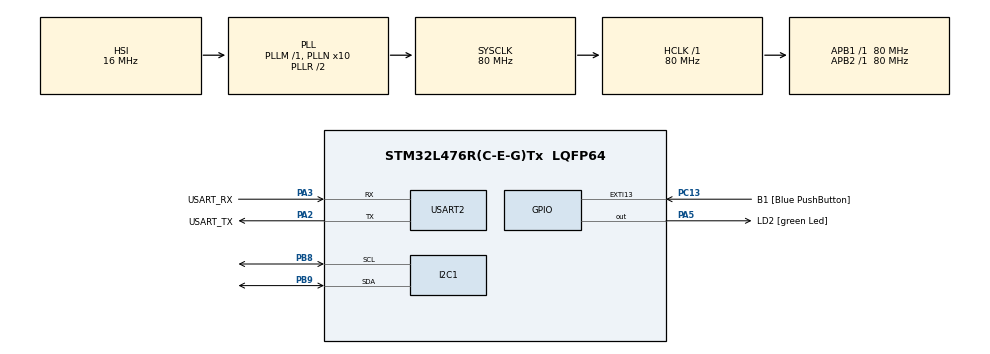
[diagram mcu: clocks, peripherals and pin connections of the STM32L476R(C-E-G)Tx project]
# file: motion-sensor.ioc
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I2C1.Timing=0x10D19CE4
Mcu.Family=STM32L4
Mcu.Name=STM32L476R(C-E-G)Tx
Mcu.Package=LQFP64
NVIC.PriorityGroup=NVIC_PRIORITYGROUP_4
PA13\ (JTMS-SWDIO).GPIO_Label=TMS
PA13\ (JTMS-SWDIO).Mode=Serial_Wire
PA13\ (JTMS-SWDIO).Signal=SYS_JTMS-SWDIO
PA14\ (JTCK-SWCLK).GPIO_Label=TCK
PA14\ (JTCK-SWCLK).Mode=Serial_Wire
PA14\ (JTCK-SWCLK).Signal=SYS_JTCK-SWCLK
PA2.GPIO_Label=USART_TX
PA2.GPIO_Mode=GPIO_MODE_AF_PP
PA2.GPIO_PuPd=GPIO_NOPULL
PA2.GPIO_Speed=GPIO_SPEED_FREQ_VERY_HIGH
PA2.Mode=Asynchronous
PA2.Signal=USART2_TX
PA3.GPIO_Label=USART_RX
PA3.GPIO_Mode=GPIO_MODE_AF_PP
PA3.GPIO_PuPd=GPIO_NOPULL
PA3.GPIO_Speed=GPIO_SPEED_FREQ_VERY_HIGH
PA3.Mode=Asynchronous
PA3.Signal=USART2_RX
PA5.GPIO_Label=LD2 [green Led]
PA5.GPIO_ModeDefaultOutputPP=GPIO_MODE_OUTPUT_PP
PA5.GPIO_PuPd=GPIO_NOPULL
PA5.GPIO_Speed=GPIO_SPEED_FREQ_LOW
PA5.Signal=GPIO_Output
PB3\ (JTDO-TRACESWO).GPIO_Label=SWO
PB3\ (JTDO-TRACESWO).Signal=SYS_JTDO-SWO
PB8.GPIO_Pu=GPIO_PULLUP
PB8.Mode=I2C
PB8.Signal=I2C1_SCL
PB9.GPIO_Pu=GPIO_PULLUP
PB9.Mode=I2C
PB9.Signal=I2C1_SDA
PC13.GPIO_Label=B1 [Blue PushButton]
PC13.GPIO_ModeDefaultEXTI=GPIO_MODE_IT_FALLING
PC13.GPIO_PuPd=GPIO_NOPULL
PC13.Signal=GPXTI13
PC14-OSC32_IN\ (PC14).Mode=LSE-External-Oscillator
PC14-OSC32_IN\ (PC14).Signal=RCC_OSC32_IN
PC15-OSC32_OUT\ (PC15).Mode=LSE-External-Oscillator
PC15-OSC32_OUT\ (PC15).Signal=RCC_OSC32_OUT
PH0-OSC_IN\ (PH0).Signal=RCC_OSC_IN
PH1-OSC_OUT\ (PH1).Signal=RCC_OSC_OUT
ProjectManager.HeapSize=0x200
ProjectManager.StackSize=0x400
ProjectManager.TargetToolchain=STM32CubeIDE
RCC.ADCFreq_Value=64000000
RCC.AHBFreq_Value=80000000
RCC.APB1Freq_Value=80000000
RCC.APB1TimFreq_Value=80000000
RCC.APB2Freq_Value=80000000
RCC.APB2TimFreq_Value=80000000
RCC.CortexFreq_Value=80000000
RCC.HCLKFreq_Value=80000000
RCC.HSE_VALUE=8000000
RCC.HSI_VALUE=16000000
RCC.MSI_VALUE=4000000
RCC.PLLN=10
RCC.PLLSourceVirtual=RCC_PLLSOURCE_HSI
RCC.PREFETCH_ENABLE=1
RCC.SYSCLKFreq_VALUE=80000000
RCC.SYSCLKSource=RCC_SYSCLKSOURCE_PLLCLK
RCC.USBFreq_Value=64000000
RCC.VCOOutputFreq_Value=160000000
USART2.VirtualMode-Asynchronous=VM_ASYNC
board=NUCLEO-L476RG

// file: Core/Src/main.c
/* USER CODE BEGIN Header */
/**
  ******************************************************************************
  * @file           : main.c
  * @brief          : Main program body
  ******************************************************************************
  * @attention
  *
  * Copyright (c) 2025 STMicroelectronics.
  * All rights reserved.
  *
  * This software is licensed under terms that can be found in the LICENSE file
  * in the root directory of this software component.
  * If no LICENSE file comes with this software, it is provided AS-IS.
  *
  ******************************************************************************
  */
/* USER CODE END Header */
#include "main.h"
#include "stdio.h"

/* USER CODE BEGIN PD */
#define MPU6050_ADDR (0x68 << 1)  // 0xD0 in 8-bit addressing
#define MPU6050_WHO_AM_I 0x75
#define MPU6050_PWR_MGMT_1 0x6B
#define MPU6050_ACCEL_XOUT_H 0x3B
/* USER CODE END PD */

I2C_HandleTypeDef hi2c1;

UART_HandleTypeDef huart2;

void SystemClock_Config(void);
static void MX_GPIO_Init(void);
static void MX_USART2_UART_Init(void);
static void MX_I2C1_Init(void);

/* USER CODE BEGIN 0 */
// Redirect to UART to display
int _write(int file, char *ptr, int len) {
    HAL_UART_Transmit(&huart2, (uint8_t*)ptr, len, HAL_MAX_DELAY);
    return len;
}

void I2C_Scan(void) {
    printf("Scanning I2C bus...\r\n");
    HAL_StatusTypeDef result;

    for (uint8_t i = 1; i < 128; i++) {
        result = HAL_I2C_IsDeviceReady(&hi2c1, (i << 1), 2, 10);
        if (result == HAL_OK) {
            printf("Device found at 0x%02X\r\n", i);
        }
    }
    printf("Scan complete!\r\n");
}

uint8_t MPU6050_Init(void) {
    uint8_t check;
    uint8_t data;

    // Check WHO_AM_I register (should return 0x68)
    HAL_I2C_Mem_Read(&hi2c1, MPU6050_ADDR, MPU6050_WHO_AM_I, 1, &check, 1, HAL_MAX_DELAY);

    if (check == 0x68) {
        printf("MPU6050 detected! WHO_AM_I = 0x%02X\r\n", check);

        // Wake up MPU6050 (it starts in sleep mode)
        data = 0x00;
        HAL_I2C_Mem_Write(&hi2c1, MPU6050_ADDR, MPU6050_PWR_MGMT_1, 1, &data, 1, HAL_MAX_DELAY);

        printf("MPU6050 initialized!\r\n");
        return 0;
    } else {
        printf("MPU6050 not found. WHO_AM_I = 0x%02X\r\n", check);
        return 1;
    }
}

void MPU6050_Read_Accel(int16_t *accel_x, int16_t *accel_y, int16_t *accel_z) {
    uint8_t data[6];

    // Read 6 bytes starting from ACCEL_XOUT_H register
    HAL_I2C_Mem_Read(&hi2c1, MPU6050_ADDR, MPU6050_ACCEL_XOUT_H, 1, data, 6, HAL_MAX_DELAY);

    // Combine high and low bytes
    *accel_x = (int16_t)(data[0] << 8 | data[1]);
    *accel_y = (int16_t)(data[2] << 8 | data[3]);
    *accel_z = (int16_t)(data[4] << 8 | data[5]);
}
/* USER CODE END 0 */

int main(void)
{

  /* MCU Configuration--------------------------------------------------------*/

  /* Reset of all peripherals, Initializes the Flash interface and the Systick. */
  HAL_Init();

  /* Configure the system clock */
  SystemClock_Config();

  /* Initialize all configured peripherals */
  MX_GPIO_Init();
  MX_USART2_UART_Init();
  MX_I2C1_Init();
  /* USER CODE BEGIN 2 */
  printf("MPU6050 Test Starting...\r\n");
      HAL_Delay(1000);

      I2C_Scan();

      // Initialize MPU6050
      if (MPU6050_Init() == 0) {
          printf("\r\nStarting sensor readings...\r\n");
      } else {
          printf("Failed to initialize MPU6050!\r\n");
          while(1); // Stop here if init failed
      }
  /* USER CODE END 2 */

  /* Infinite loop */
  /* USER CODE BEGIN WHILE */
      int16_t accel_x, accel_y, accel_z;
      int16_t prev_x = 0, prev_y = 0, prev_z = 0;
      float accel_x_g, accel_y_g, accel_z_g;
  while (1)
  {
	  // Read accelerometer data
	          MPU6050_Read_Accel(&accel_x, &accel_y, &accel_z);

	          accel_x_g = (float)accel_x / 16384.0f;
	          accel_y_g = (float)accel_y / 16384.0f;
	          accel_z_g = (float)accel_z / 16384.0f;

	          //calculate how much values have changed
	          int16_t delta_x = abs(accel_x - prev_x);
	          int16_t delta_y = abs(accel_y - prev_y);
	          int16_t delta_z = abs(accel_z - prev_z);
	          int16_t total_change = delta_x + delta_y + delta_z;

	          //blink the LED if change is more then 250
	          if (total_change > 700) {
	        	  HAL_GPIO_WritePin(GPIOA, GPIO_PIN_5, GPIO_PIN_SET);
	          } else {
	        	  HAL_GPIO_WritePin(GPIOA, GPIO_PIN_5, GPIO_PIN_RESET);
	          }

	          // Print values
	          printf("X: %+.3fg | Y: %+.3fg | Z: %+.3fg | Change: %5d\r\n",
	        		  accel_x_g, accel_y_g, accel_z_g, total_change);
	          //remember current values
	          prev_x = accel_x;
	          prev_y = accel_y;
	          prev_z = accel_z;

	          HAL_Delay(200); // Read every 200ms
    /* USER CODE END WHILE */

  }
}

void SystemClock_Config(void)
{
  RCC_OscInitTypeDef RCC_OscInitStruct = {0};
  RCC_ClkInitTypeDef RCC_ClkInitStruct = {0};

  /** Configure the main internal regulator output voltage
  */
  if (HAL_PWREx_ControlVoltageScaling(PWR_REGULATOR_VOLTAGE_SCALE1) != HAL_OK)
  {
    Error_Handler();
  }

  /** Initializes the RCC Oscillators according to the specified parameters
  * in the RCC_OscInitTypeDef structure.
  */
  RCC_OscInitStruct.OscillatorType = RCC_OSCILLATORTYPE_HSI;
  RCC_OscInitStruct.HSIState = RCC_HSI_ON;
  RCC_OscInitStruct.HSICalibrationValue = RCC_HSICALIBRATION_DEFAULT;
  RCC_OscInitStruct.PLL.PLLState = RCC_PLL_ON;
  RCC_OscInitStruct.PLL.PLLSource = RCC_PLLSOURCE_HSI;
  RCC_OscInitStruct.PLL.PLLM = 1;
  RCC_OscInitStruct.PLL.PLLN = 10;
  RCC_OscInitStruct.PLL.PLLP = RCC_PLLP_DIV7;
  RCC_OscInitStruct.PLL.PLLQ = RCC_PLLQ_DIV2;
  RCC_OscInitStruct.PLL.PLLR = RCC_PLLR_DIV2;
  if (HAL_RCC_OscConfig(&RCC_OscInitStruct) != HAL_OK)
  {
    Error_Handler();
  }

  /** Initializes the CPU, AHB and APB buses clocks
  */
  RCC_ClkInitStruct.ClockType = RCC_CLOCKTYPE_HCLK|RCC_CLOCKTYPE_SYSCLK
                              |RCC_CLOCKTYPE_PCLK1|RCC_CLOCKTYPE_PCLK2;
  RCC_ClkInitStruct.SYSCLKSource = RCC_SYSCLKSOURCE_PLLCLK;
  RCC_ClkInitStruct.AHBCLKDivider = RCC_SYSCLK_DIV1;
  RCC_ClkInitStruct.APB1CLKDivider = RCC_HCLK_DIV1;
  RCC_ClkInitStruct.APB2CLKDivider = RCC_HCLK_DIV1;

  if (HAL_RCC_ClockConfig(&RCC_ClkInitStruct, FLASH_LATENCY_4) != HAL_OK)
  {
    Error_Handler();
  }
}

static void MX_I2C1_Init(void)
{

  hi2c1.Instance = I2C1;
  hi2c1.Init.Timing = 0x10D19CE4;
  hi2c1.Init.OwnAddress1 = 0;
  hi2c1.Init.AddressingMode = I2C_ADDRESSINGMODE_7BIT;
  hi2c1.Init.DualAddressMode = I2C_DUALADDRESS_DISABLE;
  hi2c1.Init.OwnAddress2 = 0;
  hi2c1.Init.OwnAddress2Masks = I2C_OA2_NOMASK;
  hi2c1.Init.GeneralCallMode = I2C_GENERALCALL_DISABLE;
  hi2c1.Init.NoStretchMode = I2C_NOSTRETCH_DISABLE;
  if (HAL_I2C_Init(&hi2c1) != HAL_OK)
  {
    Error_Handler();
  }

  /** Configure Analogue filter
  */
  if (HAL_I2CEx_ConfigAnalogFilter(&hi2c1, I2C_ANALOGFILTER_ENABLE) != HAL_OK)
  {
    Error_Handler();
  }

  /** Configure Digital filter
  */
  if (HAL_I2CEx_ConfigDigitalFilter(&hi2c1, 0) != HAL_OK)
  {
    Error_Handler();
  }

}

static void MX_USART2_UART_Init(void)
{

  huart2.Instance = USART2;
  huart2.Init.BaudRate = 115200;
  huart2.Init.WordLength = UART_WORDLENGTH_8B;
  huart2.Init.StopBits = UART_STOPBITS_1;
  huart2.Init.Parity = UART_PARITY_NONE;
  huart2.Init.Mode = UART_MODE_TX_RX;
  huart2.Init.HwFlowCtl = UART_HWCONTROL_NONE;
  huart2.Init.OverSampling = UART_OVERSAMPLING_16;
  huart2.Init.OneBitSampling = UART_ONE_BIT_SAMPLE_DISABLE;
  huart2.AdvancedInit.AdvFeatureInit = UART_ADVFEATURE_NO_INIT;
  if (HAL_UART_Init(&huart2) != HAL_OK)
  {
    Error_Handler();
  }

}

static void MX_GPIO_Init(void)
{
  GPIO_InitTypeDef GPIO_InitStruct = {0};

  /* GPIO Ports Clock Enable */
  __HAL_RCC_GPIOC_CLK_ENABLE();
  __HAL_RCC_GPIOH_CLK_ENABLE();
  __HAL_RCC_GPIOA_CLK_ENABLE();
  __HAL_RCC_GPIOB_CLK_ENABLE();

  /*Configure GPIO pin Output Level */
  HAL_GPIO_WritePin(LD2_GPIO_Port, LD2_Pin, GPIO_PIN_RESET);

  /*Configure GPIO pin : B1_Pin */
  GPIO_InitStruct.Pin = B1_Pin;
  GPIO_InitStruct.Mode = GPIO_MODE_IT_FALLING;
  GPIO_InitStruct.Pull = GPIO_NOPULL;
  HAL_GPIO_Init(B1_GPIO_Port, &GPIO_InitStruct);

  /*Configure GPIO pin : LD2_Pin */
  GPIO_InitStruct.Pin = LD2_Pin;
  GPIO_InitStruct.Mode = GPIO_MODE_OUTPUT_PP;
  GPIO_InitStruct.Pull = GPIO_NOPULL;
  GPIO_InitStruct.Speed = GPIO_SPEED_FREQ_LOW;
  HAL_GPIO_Init(LD2_GPIO_Port, &GPIO_InitStruct);

}

void Error_Handler(void)
{
  __disable_irq();
  while (1)
  {
  }
}
